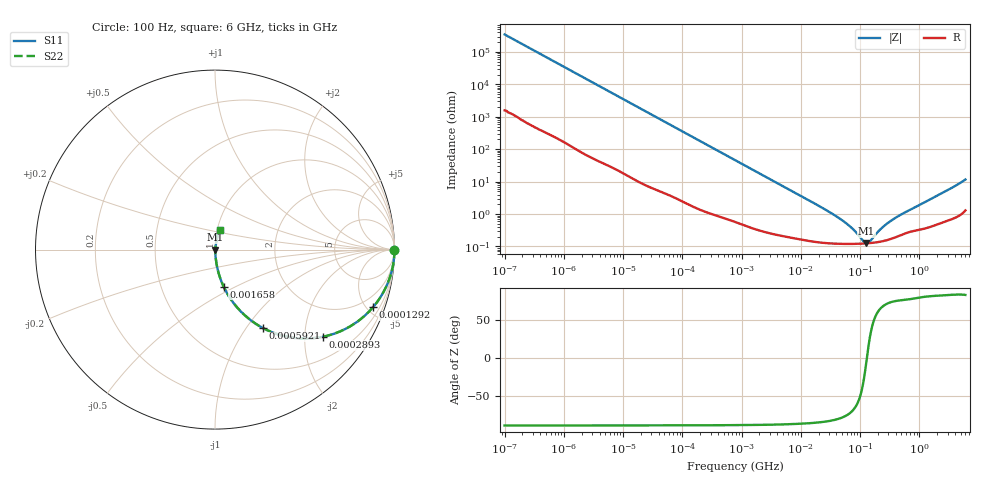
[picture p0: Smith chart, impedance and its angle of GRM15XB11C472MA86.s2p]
!Murata Part Number: GRM15XB11C472MA86
!These Parameters are Measured in Series Mode Connection
!Data Generated on Mar 30, 2021
!  o--ll--o
!Port1  Port2
!  o------o
!Operation Temp=25[degC], DC Bias Voltage=0[V]
!Freq. Start=100[Hz] Stop=6[GHz] 401[Steps]
# Hz S RI R 50
!Freq.(Hz) S11(Real) S11(Imag) S21(Real) S21(Imag) S12(Real) S12(Imag) S22(Real) S22(Imag)
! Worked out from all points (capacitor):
!   401 points, 100 Hz to 6 GHz, reference 50 ohm
!   read as one part in series: C = 4.59 nF near 109 Hz
!   lowest |Z| = 125 mohm at 127.6 MHz (marker M1)
!   series resonance near 130.5 MHz, so ESL is about 320 pH
!   S11 on the Smith chart (normalised r, x): 100 Hz: open; 129.2 kHz: 1.04, -5.49; 289.3 kHz: 1.02, -2.46; 592.1 kHz: 1.01, -1.21; 1.658 MHz: 1.01, -0.43; 6 GHz: 1.03, +0.23
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100  1 -0.000289  1.4e-06 0.000289  1.4e-06 0.000289  1 -0.000289
2008  0.9999 -0.00574  5.88e-05 0.00574  5.88e-05 0.00574  0.9999 -0.00574
12592  0.9985 -0.0357  0.00146 0.0357  0.00146 0.0357  0.9985 -0.0357
40335  0.9865 -0.1127  0.0135 0.1127  0.0135 0.1127  0.9865 -0.1127
129199  0.8811 -0.3202  0.1189 0.3202  0.1189 0.3202  0.8811 -0.3202
193316  0.7697 -0.4173  0.2303 0.4173  0.2303 0.4173  0.7697 -0.4173
289253  0.601 -0.4854  0.399 0.4854  0.399 0.4854  0.601 -0.4854
592111  0.2689 -0.4378  0.7311 0.4378  0.7311 0.4378  0.2689 -0.4378
774597  0.1787 -0.377  0.8213 0.377  0.8213 0.377  0.1787 -0.377
1658239  0.0479 -0.2057  0.9521 0.2057  0.9521 0.2057  0.0479 -0.2057
4246196  0.00935 -0.0841  0.9907 0.0841  0.9907 0.0841  0.00935 -0.0841
1.555665e7  0.00196 -0.0232  0.998 0.0232  0.998 0.0232  0.00196 -0.0232
5.449875e7  0.00123 -0.00557  0.9988 0.00557  0.9988 0.00557  0.00123 -0.00557
7.797396e7  0.00121 -0.00303  0.9988 0.00303  0.9988 0.00303  0.00121 -0.00303
1.166697e8  0.00123 -0.00063  0.9988 0.00063  0.9988 0.00063  0.00123 -0.00063
1.275994e8  0.00124 -0.000124  0.9988 0.000124  0.9988 0.000124  0.00124 -0.000124
1.459435e8  0.00127 0.000632  0.9987 -0.000632  0.9987 -0.000632  0.00127 0.000632
2.183701e8  0.00141 0.00301  0.9986 -0.00301  0.9986 -0.00301  0.00141 0.00301
3.124326e8  0.00167 0.00546  0.9983 -0.00546  0.9983 -0.00546  0.00167 0.00546
5.112761e8  0.0024 0.00972  0.9976 -0.00972  0.9976 -0.00972  0.0024 0.00972
2.048624e9  0.00616 0.0369  0.9938 -0.0369  0.9938 -0.0369  0.00616 0.0369
6e9  0.0254 0.111  0.9746 -0.111  0.9746 -0.111  0.0254 0.111
